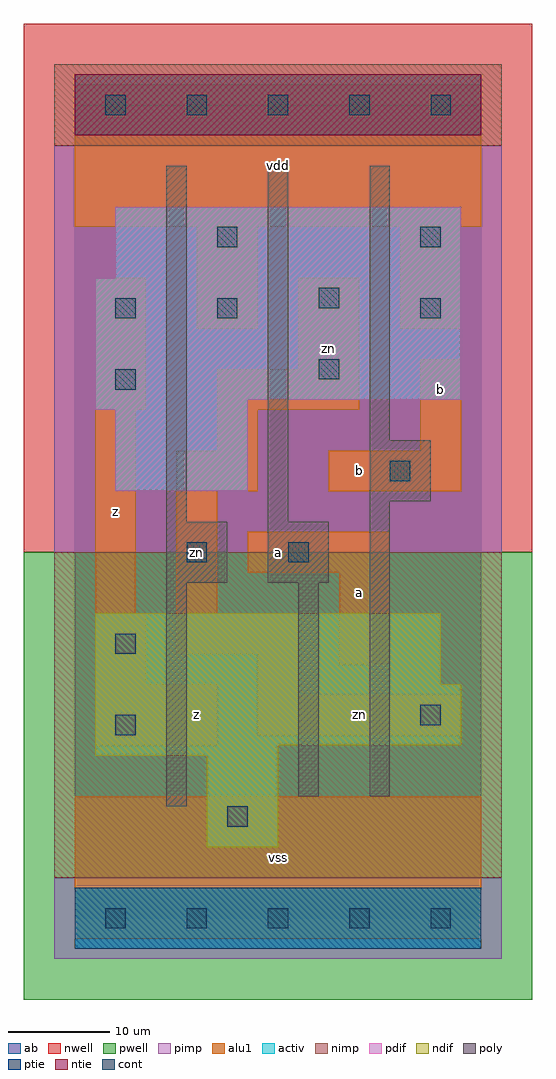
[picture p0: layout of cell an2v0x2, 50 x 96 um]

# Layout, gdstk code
import gdstk
lib = gdstk.Library(unit=1e-6, precision=1e-09)
def R(c, l, rs):  # rectangles x0, y0, x1, y1
    for r in rs: c.add(gdstk.rectangle(r[:2], r[2:], *l))
def A(c, l, x, y, w, h, nx, ny, dx, dy):  # array of equal rectangles
    R(c, l, [(x+i*dx, y+j*dy, x+i*dx+w, y+j*dy+h) for i in range(nx) for j in range(ny)])
ndif = (3, 0)
pdif = (4, 0)
ntie = (5, 0)
ptie = (6, 0)
cont = (25, 0)
pwell = (41, 0)
nwell = (42, 0)
activ = (43, 0)
pimp = (44, 0)
nimp = (45, 0)
poly = (46, 0)
alu1 = (49, 0)
ab = (63, 0)

an2v0x2 = lib.new_cell('an2v0x2')
R(an2v0x2, ndif, [(13,7,20,16), (2,16,20,17), (2,17,38,23), (2,23,36,30)])
R(an2v0x2, pdif, [(4,42,17,50), (2,50,17,51), (2,51,38,63), (4,63,38,70)])
R(an2v0x2, ntie, [(0,77,40,83)])
R(an2v0x2, ptie, [(0,-3,40,3)])
A(an2v0x2, cont, 3, -1, 2, 2, 5, 2, 8, 80)
R(an2v0x2, cont, [(15,9,17,11), (4,18,6,20), (34,19,36,21), (4,26,6,28), (11,35,13,37), (21,35,23,37), (31,43,33,45), (4,52,6,54), (24,53,26,55), (4,59,6,61), (14,59,16,61), (34,59,36,61), (24,60,26,62), (14,66,16,68), (34,66,36,68)])
R(an2v0x2, pwell, [(-5,-8,45,36)])
R(an2v0x2, nwell, [(-5,36,45,88)])
R(an2v0x2, activ, [(0,-3,40,3), (13,7,20,16), (2,16,20,17), (2,17,38,23), (2,23,36,30), (4,42,17,50), (2,50,17,51), (2,51,38,63), (4,63,38,70), (0,77,40,83)])
R(an2v0x2, pimp, [(-2,-4,42,4), (-2,36,42,76)])
R(an2v0x2, nimp, [(-2,4,42,36), (-2,76,42,84)])
R(an2v0x2, poly, [(9,11,11,33), (22,12,24,33), (29,12,31,41), (9,33,15,39), (19,33,25,39), (9,39,11,74), (19,39,21,74), (29,41,35,47), (29,47,31,74)])
R(an2v0x2, alu1, [(0,-2,40,12), (2,17,14,23), (18,18,38,22), (18,22,22,26), (2,23,7,30), (26,25,31,34), (10,26,22,30), (2,30,6,50), (10,30,14,42), (17,34,31,38), (10,42,18,46), (25,42,38,46), (14,46,18,50), (34,46,38,55), (2,50,7,63), (14,50,28,54), (22,54,28,63), (12,58,18,68), (32,58,38,68), (0,68,40,82)])
R(an2v0x2, ab, [(0,0,40,80)])
an2v0x2.add(gdstk.Label('zn', (12,36), layer=49, texttype=0))
an2v0x2.add(gdstk.Label('zn', (25,56), layer=49, texttype=0))
an2v0x2.add(gdstk.Label('zn', (28,20), layer=49, texttype=0))
an2v0x2.add(gdstk.Label('z', (4,40), layer=49, texttype=0))
an2v0x2.add(gdstk.Label('z', (12,20), layer=49, texttype=0))
an2v0x2.add(gdstk.Label('vss', (20,6), layer=49, texttype=0))
an2v0x2.add(gdstk.Label('a', (20,36), layer=49, texttype=0))
an2v0x2.add(gdstk.Label('a', (28,32), layer=49, texttype=0))
an2v0x2.add(gdstk.Label('b', (28,44), layer=49, texttype=0))
an2v0x2.add(gdstk.Label('vdd', (20,74), layer=49, texttype=0))
an2v0x2.add(gdstk.Label('b', (36,52), layer=49, texttype=0))

lib.write_gds('an2v0x2.gds')
